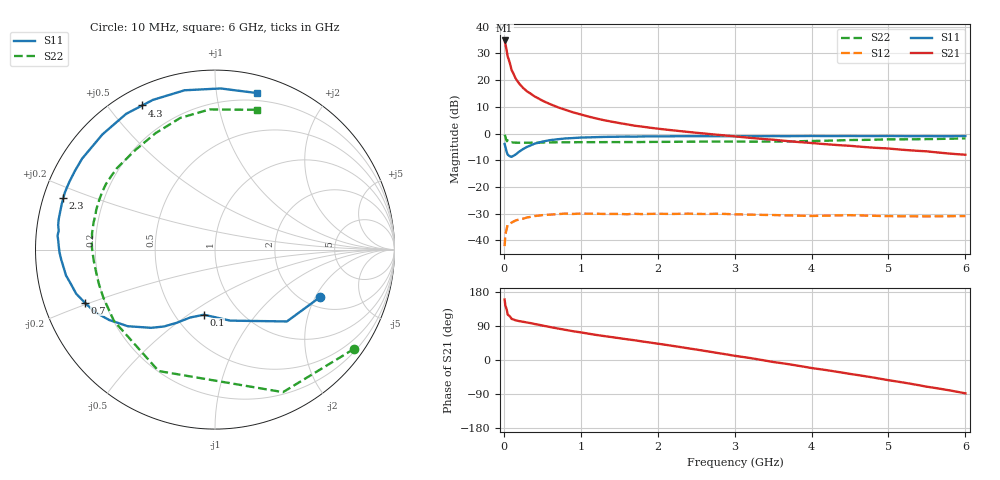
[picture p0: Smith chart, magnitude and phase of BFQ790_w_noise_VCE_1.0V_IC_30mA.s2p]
! Infineon Technologies  Discrete & RF Semiconductors
! BFQ790
! VCE =  1.0 V,  IC =  30 mA
! Common Emitter S-Parameters:  May 2015
# GHz  S  MA  R  50
!  f  S11  S21  S12  S22
! GHz  MAG  ANG  MAG  ANG  MAG  ANG  MAG  ANG
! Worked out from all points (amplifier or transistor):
!   77 points, 10 MHz to 6 GHz, reference 50 ohm
!   highest |S21| = 34.9 dB at 10 MHz (marker M1)
!   |S21| within 3 dB of that: start of sweep to 31.58 MHz
!   unconditionally stable (mu >= 1): 1.634 GHz to end of sweep
!   at 130 MHz: K = 0.69, MSG = 27.5 dB, |S12| = -32.9 dB
!   at 2.2 GHz: K = 1.10, MAG = 13.7 dB, |S12| = -30.1 dB
!   at 6 GHz: K = 2.25, MAG = 5.2 dB, |S12| = -30.9 dB
!   lowest NFmin = 2.11 dB at 900 MHz
!   S11 on the Smith chart (normalised r, x): 10 MHz: 2.41, -2.18; 100 MHz: 0.69, -0.58; 700 MHz: 0.13, -0.19; 2.3 GHz: 0.06, +0.16; 4.3 GHz: 0.07, +0.61; 6 GHz: 0.14, +1.29
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0.01  0.6415 -24.5  55.48 159.7  0.0078 68.9  0.9528 -35.4
0.02  0.5663 -45.0  47.63 143.3  0.0129 55.0  0.88 -64.5
0.05  0.4045 -78.0  27.83 119.7  0.0197 31.6  0.7459 -114.9
0.1  0.368 -99.7  15.56 108.5  0.0215 20.4  0.689 -144.7
0.15  0.4036 -110.2  10.96 104.9  0.0235 18.4  0.6772 -156.7
0.2  0.4593 -117.5  8.609 102.6  0.0247 17.2  0.6746 -163.1
0.25  0.5136 -123.5  7.185 100.9  0.0255 14.1  0.6742 -167.1
0.3  0.5624 -129.2  6.2 99.0  0.0268 12.7  0.6745 -170.2
0.4  0.6469 -138.7  4.966 95.0  0.0286 9.8  0.6782 -174.6
0.5  0.7076 -146.3  4.146 91.0  0.0297 6.6  0.6812 -177.8
0.6  0.754 -152.5  3.572 87.1  0.0304 4.3  0.6849 179.6
0.7  0.7838 -157.9  3.121 83.2  0.031 1.8  0.6868 177.5
0.9  0.8259 -166.7  2.498 75.9  0.0313 -4.7  0.6887 174.1
1.1  0.8499 -173.5  2.085 69.5  0.0316 -7.9  0.6914 171.1
1.5  0.8747 176.8  1.575 57.6  0.0313 -13.6  0.6927 166.0
2.1  0.8886 165.4  1.192 40.2  0.0314 -22.6  0.7004 157.9
2.3  0.8924 161.3  1.11 34.0  0.0315 -25.6  0.7037 154.6
3.1  0.8945 143.4  0.86 8.2  0.0306 -37.8  0.7079 137.9
4.1  0.9013 121.1  0.648 -24.0  0.0289 -49.9  0.7318 114.4
4.3  0.8996 116.8  0.616 -30.1  0.0293 -52.0  0.7426 109.5
5.1  0.8991 98.3  0.51 -56.4  0.0284 -62.2  0.7806 90.0
6  0.9027 75.1  0.402 -88.0  0.0286 -74.0  0.8137 73.3
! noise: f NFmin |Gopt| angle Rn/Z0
0.45  2.49  0.31  99  0.34
0.9  2.11  0.46  151  0.14
1.5  2.31  0.64  179  0.07
1.8  2.6  0.67  -174  0.07
2.6  3.46  0.74  -156  0.2
3.5  4.21  0.87  -138  0.62
